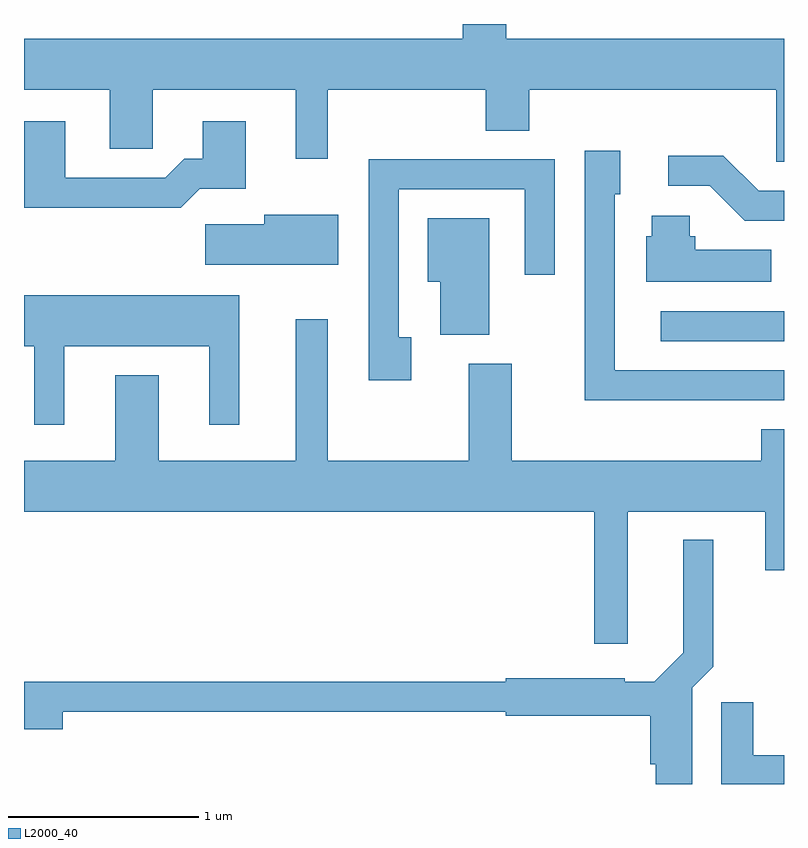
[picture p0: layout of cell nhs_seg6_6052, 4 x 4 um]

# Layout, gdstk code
import gdstk
lib = gdstk.Library(unit=1e-6, precision=1e-09)
def R(c, l, rs):  # rectangles x0, y0, x1, y1
    for r in rs: c.add(gdstk.rectangle(r[:2], r[2:], *l))
def P(c, l, *ps):  # polygons
    for p in ps: c.add(gdstk.Polygon(p, *l))
L2000_40 = (2000, 40)

nhs_seg6_6052 = lib.new_cell('nhs_seg6_6052')
R(nhs_seg6_6052, L2000_40, [(372.963,1546.491,373.611,1546.649)])
P(nhs_seg6_6052, L2000_40, [(373.611,1548.084),(372.149,1548.084),(372.149,1548.162),(371.921,1548.162),(371.921,1548.084),(369.611,1548.084),(369.611,1547.816),(370.061,1547.816),(370.061,1547.506),(370.289,1547.506),(370.289,1547.816),(371.041,1547.816),(371.041,1547.453),(371.209,1547.453),(371.209,1547.816),(372.041,1547.816),(372.041,1547.601),(372.269,1547.601),(372.269,1547.816),(373.571,1547.816),(373.571,1547.436),(373.611,1547.436)],
  [(370.537,1547.296),(370.779,1547.296),(370.779,1547.649),(370.551,1547.649),(370.551,1547.454),(370.454,1547.454),(370.354,1547.354),(369.829,1547.354),(369.829,1547.649),(369.611,1547.649),(369.611,1547.196),(370.437,1547.196)],
  [(373.611,1546.339),(372.719,1546.339),(372.719,1547.266),(372.749,1547.266),(372.749,1547.494),(372.561,1547.494),(372.561,1546.181),(373.611,1546.181)],
  [(373.611,1547.284),(373.477,1547.284),(373.292,1547.469),(373.003,1547.469),(373.003,1547.311),(373.219,1547.311),(373.404,1547.126),(373.611,1547.126)],
  [(371.649,1546.514),(371.584,1546.514),(371.584,1547.291),(372.246,1547.291),(372.246,1546.843),(372.404,1546.843),(372.404,1547.449),(371.426,1547.449),(371.426,1546.286),(371.649,1546.286)],
  [(371.264,1547.159),(370.876,1547.159),(370.876,1547.109),(370.566,1547.109),(370.566,1546.896),(371.264,1546.896)],
  [(373.543,1546.974),(373.144,1546.974),(373.144,1547.044),(373.114,1547.044),(373.114,1547.154),(372.916,1547.154),(372.916,1547.044),(372.886,1547.044),(372.886,1546.806),(373.543,1546.806)],
  [(372.059,1547.139),(371.736,1547.139),(371.736,1546.806),(371.801,1546.806),(371.801,1546.526),(372.059,1546.526)],
  [(369.824,1546.466),(370.586,1546.466),(370.586,1546.053),(370.744,1546.053),(370.744,1546.734),(369.611,1546.734),(369.611,1546.466),(369.666,1546.466),(369.666,1546.053),(369.824,1546.053)],
  [(372.789,1545.596),(373.511,1545.596),(373.511,1545.286),(373.611,1545.286),(373.611,1546.029),(373.491,1546.029),(373.491,1545.864),(372.179,1545.864),(372.179,1546.374),(371.951,1546.374),(371.951,1545.864),(371.209,1545.864),(371.209,1546.608),(371.041,1546.608),(371.041,1545.864),(370.319,1545.864),(370.319,1546.314),(370.091,1546.314),(370.091,1545.864),(369.611,1545.864),(369.611,1545.596),(372.611,1545.596),(372.611,1544.901),(372.789,1544.901)],
  [(373.129,1544.669),(373.239,1544.779),(373.239,1545.448),(373.081,1545.448),(373.081,1544.852),(372.929,1544.699),(372.774,1544.699),(372.774,1544.719),(372.146,1544.719),(372.146,1544.699),(369.611,1544.699),(369.611,1544.451),(369.814,1544.451),(369.814,1544.541),(372.146,1544.541),(372.146,1544.521),(372.906,1544.521),(372.906,1544.266),(372.936,1544.266),(372.936,1544.162),(373.129,1544.162)],
  [(373.611,1544.314),(373.449,1544.314),(373.449,1544.593),(373.281,1544.593),(373.281,1544.162),(373.611,1544.162)])

lib.write_gds('nhs_seg6_6052.gds')
